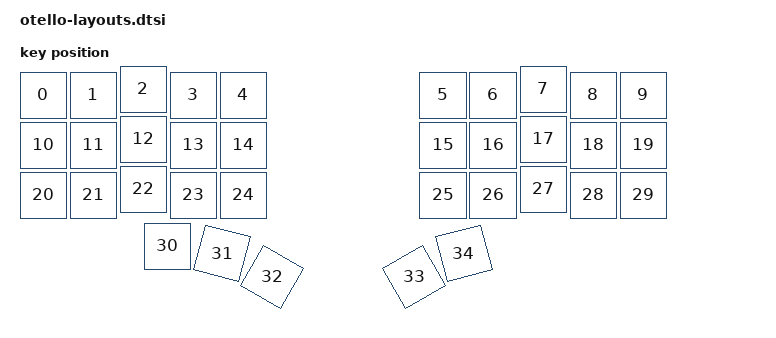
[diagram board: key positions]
#include <physical_layouts.dtsi>

/ {
    otello_physical_layout: otello_physical_layout {
        compatible = "zmk,physical-layout";
        display-name = "otello_nano";
        status = "okay";
        kscan = <&kscan0>;
        transform = <&five_column_transform>;

        keys
            // Left Half - Main Keys (outer column removed, x shifted -100)
            //                       w   h    x    y     rot    rx    ry
            = <&key_physical_attrs 100 100  100   12       0     0     0>
            , <&key_physical_attrs 100 100  200   12       0     0     0>
            , <&key_physical_attrs 100 100  300    0       0     0     0>
            , <&key_physical_attrs 100 100  400   12       0     0     0>
            , <&key_physical_attrs 100 100  500   12       0     0     0>
            , <&key_physical_attrs 100 100  900   12       0     0     0>
            , <&key_physical_attrs 100 100 1000   12       0     0     0>
            , <&key_physical_attrs 100 100 1100    0       0     0     0>
            , <&key_physical_attrs 100 100 1200   12       0     0     0>
            , <&key_physical_attrs 100 100 1300   12       0     0     0>
            , <&key_physical_attrs 100 100  100  112       0     0     0>
            , <&key_physical_attrs 100 100  200  112       0     0     0>
            , <&key_physical_attrs 100 100  300  100       0     0     0>
            , <&key_physical_attrs 100 100  400  112       0     0     0>
            , <&key_physical_attrs 100 100  500  112       0     0     0>
            , <&key_physical_attrs 100 100  900  112       0     0     0>
            , <&key_physical_attrs 100 100 1000  112       0     0     0>
            , <&key_physical_attrs 100 100 1100  100       0     0     0>
            , <&key_physical_attrs 100 100 1200  112       0     0     0>
            , <&key_physical_attrs 100 100 1300  112       0     0     0>
            , <&key_physical_attrs 100 100  100  212       0     0     0>
            , <&key_physical_attrs 100 100  200  212       0     0     0>
            , <&key_physical_attrs 100 100  300  200       0     0     0>
            , <&key_physical_attrs 100 100  400  212       0     0     0>
            , <&key_physical_attrs 100 100  500  212       0     0     0>
            , <&key_physical_attrs 100 100  900  212       0     0     0>
            , <&key_physical_attrs 100 100 1000  212       0     0     0>
            , <&key_physical_attrs 100 100 1100  200       0     0     0>
            , <&key_physical_attrs 100 100 1200  212       0     0     0>
            , <&key_physical_attrs 100 100 1300  212       0     0     0>

            // Thumb Clusters
            //                       w   h    x    y     rot    rx    ry
            , <&key_physical_attrs 100 100  348  314       0     0     0>
            , <&key_physical_attrs 100 100  348  314    1500   398   790>
            , <&key_physical_attrs 100 100  348  320    3000   398   790>
            , <&key_physical_attrs 100 100 1052  320 (-3000)  1102   790>
            , <&key_physical_attrs 100 100 1052  314 (-1500)  1102   790>
            ;
    };
};
